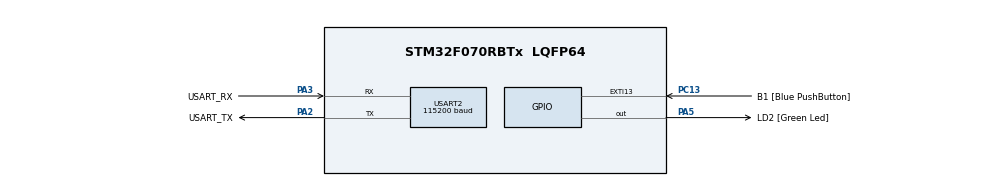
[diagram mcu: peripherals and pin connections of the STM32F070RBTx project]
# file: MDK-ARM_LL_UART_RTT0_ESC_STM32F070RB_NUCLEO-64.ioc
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Mcu.Family=STM32F0
Mcu.Name=STM32F070RBTx
Mcu.Package=LQFP64
NVIC.USART2_IRQn=true\:0\:0\:false\:false\:true\:true\:true
PA13.GPIO_Label=TMS
PA13.Mode=Serial_Wire
PA13.Signal=SYS_SWDIO
PA14.GPIO_Label=TCK
PA14.Mode=Serial_Wire
PA14.Signal=SYS_SWCLK
PA2.GPIO_Label=USART_TX
PA2.Mode=Asynchronous
PA2.Signal=USART2_TX
PA3.GPIO_Label=USART_RX
PA3.Mode=Asynchronous
PA3.Signal=USART2_RX
PA5.GPIO_Label=LD2 [Green Led]
PA5.Signal=GPIO_Output
PC13.GPIO_Label=B1 [Blue PushButton]
PC13.GPIO_ModeDefaultEXTI=GPIO_MODE_IT_FALLING
PC13.Signal=GPXTI13
PC14-OSC32_IN.GPIO_Label=RCC_OSC32_IN
PC14-OSC32_IN.Mode=LSE-External-Oscillator
PC14-OSC32_IN.Signal=RCC_OSC32_IN
PC15-OSC32_OUT.GPIO_Label=RCC_OSC32_OUT
PC15-OSC32_OUT.Mode=LSE-External-Oscillator
PC15-OSC32_OUT.Signal=RCC_OSC32_OUT
PF0-OSC_IN.GPIO_Label=RCC_OSC_IN
PF0-OSC_IN.Mode=HSE-External-Clock-Source
PF0-OSC_IN.Signal=RCC_OSC_IN
PF1-OSC_OUT.GPIO_Label=RCC_OSC_OUT
PF1-OSC_OUT.Signal=RCC_OSC_OUT
ProjectManager.HeapSize=0x200
ProjectManager.StackSize=0x400
ProjectManager.TargetToolchain=MDK-ARM V5.27
RCC.AHBFreq_Value=48000000
RCC.APB1Freq_Value=48000000
RCC.APB1TimFreq_Value=48000000
RCC.HCLKFreq_Value=48000000
RCC.PLLMUL=RCC_PLL_MUL6
RCC.SYSCLKFreq_VALUE=48000000
RCC.SYSCLKSource=RCC_SYSCLKSOURCE_PLLCLK
USART2.BaudRate=115200
USART2.VirtualMode-Asynchronous=VM_ASYNC
board=NUCLEO-F070RB

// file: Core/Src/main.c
/* USER CODE BEGIN Header */
/**
  ******************************************************************************
  * @file           : main.c
  * @brief          : Main program body
  ******************************************************************************
  * @attention
  *
  * <h2><center>&copy; Copyright (c) 2020 STMicroelectronics.
  * All rights reserved.</center></h2>
  *
  * This software component is licensed by ST under BSD 3-Clause license,
  * the "License"; You may not use this file except in compliance with the
  * License. You may obtain a copy of the License at:
  *                        opensource.org/licenses/BSD-3-Clause
  *
  ******************************************************************************
  */
/* USER CODE END Header */
#include "main.h"

/* USER CODE BEGIN Includes */
#include "trice.h"
/* USER CODE END Includes */

/* USER CODE BEGIN PV */
int milliSecond = 0;
/* USER CODE END PV */

void SystemClock_Config(void);
static void MX_GPIO_Init(void);
static void MX_USART2_UART_Init(void);

int main(void)
{
  /* USER CODE BEGIN 1 */
#ifdef ENCRYPT
    InitXteaTable();
#endif
  /* USER CODE END 1 */

  /* MCU Configuration--------------------------------------------------------*/

  /* Reset of all peripherals, Initializes the Flash interface and the Systick. */

  LL_APB1_GRP2_EnableClock(LL_APB1_GRP2_PERIPH_SYSCFG);
  LL_APB1_GRP1_EnableClock(LL_APB1_GRP1_PERIPH_PWR);

  /* System interrupt init*/

  /* Configure the system clock */
  SystemClock_Config();

  /* USER CODE BEGIN SysInit */
    SysTick->CTRL |= SysTick_CTRL_TICKINT_Msk; // enable SysTick interrupt
  /* USER CODE END SysInit */

  /* Initialize all configured peripherals */
  MX_GPIO_Init();
  MX_USART2_UART_Init();
  /* USER CODE BEGIN 2 */
    LL_USART_EnableIT_RXNE(TRICE_UART); // enable UART2 interrupt
    TRICE0( Id(59213), "s:                                              \ns:   ARM-MDK_LL_UART_RTT0_ESC_STM32F070RB_NUCLEO-64    \ns:                                              \n\n");
/* USER CODE END 2 */

  /* Infinite loop */
  /* USER CODE BEGIN WHILE */
    while (1)
    {
        static int lastTricesTime = 0;
        { // send some trices every few ms
            if( milliSecond >= lastTricesTime + 100 ){
                static int index = 0;
                TRICE16_1( Id(44866),"MSG: triceFifoMaxDepth = %d\n", triceFifoMaxDepth );
                triceCheckSet(index%30);
                index++;
                lastTricesTime = milliSecond;
            }
        }
    /* USER CODE END WHILE */

    }
}

void SystemClock_Config(void)
{
  LL_FLASH_SetLatency(LL_FLASH_LATENCY_1);
  while(LL_FLASH_GetLatency() != LL_FLASH_LATENCY_1)
  {
  }
  LL_RCC_HSI_Enable();

   /* Wait till HSI is ready */
  while(LL_RCC_HSI_IsReady() != 1)
  {

  }
  LL_RCC_HSI_SetCalibTrimming(16);
  LL_RCC_PLL_ConfigDomain_SYS(LL_RCC_PLLSOURCE_HSI, LL_RCC_PLL_MUL_6, LL_RCC_PREDIV_DIV_1);
  LL_RCC_PLL_Enable();

   /* Wait till PLL is ready */
  while(LL_RCC_PLL_IsReady() != 1)
  {

  }
  LL_RCC_SetAHBPrescaler(LL_RCC_SYSCLK_DIV_1);
  LL_RCC_SetAPB1Prescaler(LL_RCC_APB1_DIV_1);
  LL_RCC_SetSysClkSource(LL_RCC_SYS_CLKSOURCE_PLL);

   /* Wait till System clock is ready */
  while(LL_RCC_GetSysClkSource() != LL_RCC_SYS_CLKSOURCE_STATUS_PLL)
  {

  }
  LL_Init1msTick(48000000);
  LL_SetSystemCoreClock(48000000);
}

static void MX_USART2_UART_Init(void)
{

  LL_USART_InitTypeDef USART_InitStruct = {0};

  LL_GPIO_InitTypeDef GPIO_InitStruct = {0};

  /* Peripheral clock enable */
  LL_APB1_GRP1_EnableClock(LL_APB1_GRP1_PERIPH_USART2);

  LL_AHB1_GRP1_EnableClock(LL_AHB1_GRP1_PERIPH_GPIOA);
  /**USART2 GPIO Configuration
  PA2   ------> USART2_TX
  PA3   ------> USART2_RX
  */
  GPIO_InitStruct.Pin = USART_TX_Pin;
  GPIO_InitStruct.Mode = LL_GPIO_MODE_ALTERNATE;
  GPIO_InitStruct.Speed = LL_GPIO_SPEED_FREQ_HIGH;
  GPIO_InitStruct.OutputType = LL_GPIO_OUTPUT_PUSHPULL;
  GPIO_InitStruct.Pull = LL_GPIO_PULL_NO;
  GPIO_InitStruct.Alternate = LL_GPIO_AF_1;
  LL_GPIO_Init(USART_TX_GPIO_Port, &GPIO_InitStruct);

  GPIO_InitStruct.Pin = USART_RX_Pin;
  GPIO_InitStruct.Mode = LL_GPIO_MODE_ALTERNATE;
  GPIO_InitStruct.Speed = LL_GPIO_SPEED_FREQ_HIGH;
  GPIO_InitStruct.OutputType = LL_GPIO_OUTPUT_PUSHPULL;
  GPIO_InitStruct.Pull = LL_GPIO_PULL_NO;
  GPIO_InitStruct.Alternate = LL_GPIO_AF_1;
  LL_GPIO_Init(USART_RX_GPIO_Port, &GPIO_InitStruct);

  /* USART2 interrupt Init */
  NVIC_SetPriority(USART2_IRQn, 0);
  NVIC_EnableIRQ(USART2_IRQn);

  USART_InitStruct.BaudRate = 115200;
  USART_InitStruct.DataWidth = LL_USART_DATAWIDTH_8B;
  USART_InitStruct.StopBits = LL_USART_STOPBITS_1;
  USART_InitStruct.Parity = LL_USART_PARITY_NONE;
  USART_InitStruct.TransferDirection = LL_USART_DIRECTION_TX_RX;
  USART_InitStruct.HardwareFlowControl = LL_USART_HWCONTROL_NONE;
  USART_InitStruct.OverSampling = LL_USART_OVERSAMPLING_16;
  LL_USART_Init(USART2, &USART_InitStruct);
  LL_USART_DisableIT_CTS(USART2);
  LL_USART_ConfigAsyncMode(USART2);
  LL_USART_Enable(USART2);

}

static void MX_GPIO_Init(void)
{
  LL_EXTI_InitTypeDef EXTI_InitStruct = {0};
  LL_GPIO_InitTypeDef GPIO_InitStruct = {0};

  /* GPIO Ports Clock Enable */
  LL_AHB1_GRP1_EnableClock(LL_AHB1_GRP1_PERIPH_GPIOC);
  LL_AHB1_GRP1_EnableClock(LL_AHB1_GRP1_PERIPH_GPIOF);
  LL_AHB1_GRP1_EnableClock(LL_AHB1_GRP1_PERIPH_GPIOA);

  /**/
  LL_GPIO_ResetOutputPin(LD2_GPIO_Port, LD2_Pin);

  /**/
  LL_SYSCFG_SetEXTISource(LL_SYSCFG_EXTI_PORTC, LL_SYSCFG_EXTI_LINE13);

  /**/
  LL_GPIO_SetPinPull(B1_GPIO_Port, B1_Pin, LL_GPIO_PULL_NO);

  /**/
  LL_GPIO_SetPinMode(B1_GPIO_Port, B1_Pin, LL_GPIO_MODE_INPUT);

  /**/
  EXTI_InitStruct.Line_0_31 = LL_EXTI_LINE_13;
  EXTI_InitStruct.LineCommand = ENABLE;
  EXTI_InitStruct.Mode = LL_EXTI_MODE_IT;
  EXTI_InitStruct.Trigger = LL_EXTI_TRIGGER_FALLING;
  LL_EXTI_Init(&EXTI_InitStruct);

  /**/
  GPIO_InitStruct.Pin = LD2_Pin;
  GPIO_InitStruct.Mode = LL_GPIO_MODE_OUTPUT;
  GPIO_InitStruct.Speed = LL_GPIO_SPEED_FREQ_LOW;
  GPIO_InitStruct.OutputType = LL_GPIO_OUTPUT_PUSHPULL;
  GPIO_InitStruct.Pull = LL_GPIO_PULL_NO;
  LL_GPIO_Init(LD2_GPIO_Port, &GPIO_InitStruct);

}

void Error_Handler(void)
{
  __disable_irq();
  while (1)
  {
  }
}

/************************ (C) COPYRIGHT STMicroelectronics *****END OF FILE****/
